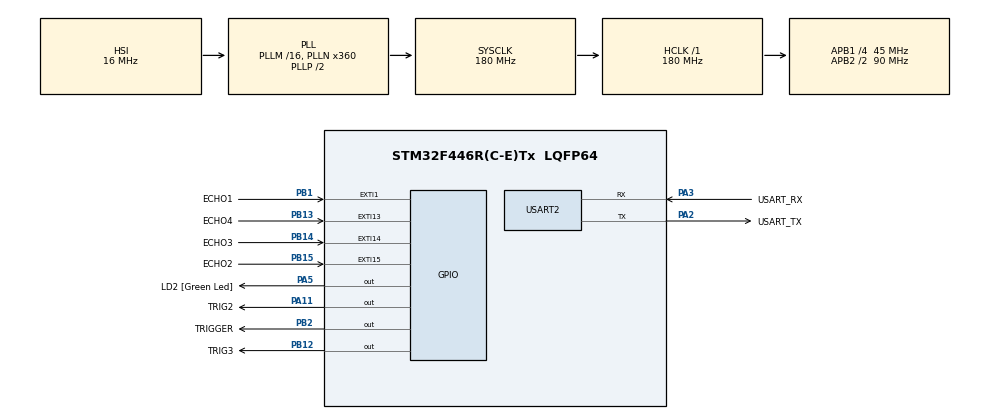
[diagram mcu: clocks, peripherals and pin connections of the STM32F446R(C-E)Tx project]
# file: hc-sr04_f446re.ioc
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Mcu.Family=STM32F4
PH0-OSC_IN.Signal=RCC_OSC_IN
RCC.CortexFreq_Value=180000000
PB14.GPIO_Label=ECHO3
PA14.GPIO_Label=TCK
PB13.GPIO_Label=ECHO4
PB13.Signal=GPXTI13
PB15.Signal=GPXTI15
RCC.SYSCLKSource=RCC_SYSCLKSOURCE_PLLCLK
ProjectManager.StackSize=0x400
NVIC.EXTI1_IRQn=true\:0\:0\:false\:false\:true\:true\:true
RCC.HCLKFreq_Value=180000000
RCC.APB2TimFreq_Value=180000000
PB1.GPIO_ModeDefaultEXTI=GPIO_MODE_IT_RISING_FALLING
RCC.AHBFreq_Value=180000000
PH0-OSC_IN.Mode=HSE-External-Oscillator
NVIC.EXTI15_10_IRQn=true\:0\:0\:false\:false\:true\:true\:true
RCC.HSE_VALUE=8000000
PB2.Signal=GPIO_Output
PB12.GPIO_Label=TRIG3
PC14-OSC32_IN.Mode=LSE-External-Oscillator
PA14.Mode=Serial_Wire
PB1.GPIO_Label=ECHO1
TIM4.Period=90
RCC.FLatency-AdvancedSettings=FLASH_LATENCY_5
PH1-OSC_OUT.Mode=HSE-External-Oscillator
Mcu.Package=LQFP64
PB1.Signal=GPXTI1
USART2.VirtualMode=VM_ASYNC
PA2.GPIO_Label=USART_TX
RCC.APB2CLKDivider=RCC_HCLK_DIV2
RCC.APB1TimFreq_Value=90000000
PA3.Signal=USART2_RX
PB3.GPIO_Label=SWO
PB14.GPIO_ModeDefaultEXTI=GPIO_MODE_IT_RISING_FALLING
PC15-OSC32_OUT.Mode=LSE-External-Oscillator
PA11.GPIO_Label=TRIG2
RCC.APB1CLKDivider=RCC_HCLK_DIV4
PC14-OSC32_IN.Signal=RCC_OSC32_IN
PB13.GPIO_ModeDefaultEXTI=GPIO_MODE_IT_RISING_FALLING
PA13.Signal=SYS_JTMS-SWDIO
PA3.Mode=Asynchronous
ProjectManager.TargetToolchain=STM32CubeIDE
RCC.USBFreq_Value=180000000
TIM4.Prescaler=1
PC15-OSC32_OUT.Signal=RCC_OSC32_OUT
PB14.Signal=GPXTI14
PA5.Signal=GPIO_Output
PB15.GPIO_ModeDefaultEXTI=GPIO_MODE_IT_RISING_FALLING
board=NUCLEO-F446RE
RCC.VCOOutputFreq_Value=360000000
RCC.APB2Freq_Value=90000000
PB15.GPIO_Label=ECHO2
PH1-OSC_OUT.Signal=RCC_OSC_OUT
PA13.Mode=Serial_Wire
Mcu.Name=STM32F446R(C-E)Tx
PA13.GPIO_Label=TMS
PA2.Signal=USART2_TX
RCC.48MHZClocksFreq_Value=84000000
PB3.Signal=SYS_JTDO-SWO
RCC.SYSCLKFreq_VALUE=180000000
PA5.GPIO_Label=LD2 [Green Led]
PA11.Signal=GPIO_Output
PA14.Signal=SYS_JTCK-SWCLK
PB2.GPIO_Label=TRIGGER
ProjectManager.HeapSize=0x200
RCC.HSI_VALUE=16000000
VP_TIM4_VS_ClockSourceINT.Mode=Internal
NVIC.PriorityGroup=NVIC_PRIORITYGROUP_0
RCC.PLLN=360
PA2.Mode=Asynchronous
NVIC.TIM4_IRQn=true\:0\:0\:false\:false\:true\:true\:true
RCC.APB1Freq_Value=45000000
PB12.Signal=GPIO_Output
PA3.GPIO_Label=USART_RX

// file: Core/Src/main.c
/* USER CODE BEGIN Header */
/**
  ******************************************************************************
  * @file           : main.c
  * @brief          : Main program body
  ******************************************************************************
  * @attention
  *
  * <h2><center>&copy; Copyright (c) 2021 STMicroelectronics.
  * All rights reserved.</center></h2>
  *
  * This software component is licensed by ST under BSD 3-Clause license,
  * the "License"; You may not use this file except in compliance with the
  * License. You may obtain a copy of the License at:
  *                        opensource.org/licenses/BSD-3-Clause
  *
  ******************************************************************************
  */
/* USER CODE END Header */
#include "main.h"
#include "tim.h"
#include "usart.h"
#include "gpio.h"

/* USER CODE BEGIN Includes */
#include <stdio.h>
#include "retarget.h"

#include "HC-SR04.h"
/* USER CODE END Includes */

void SystemClock_Config(void);

int main(void)
{

  /* MCU Configuration--------------------------------------------------------*/

  /* Reset of all peripherals, Initializes the Flash interface and the Systick. */
  HAL_Init();

  /* Configure the system clock */
  SystemClock_Config();

  /* Initialize all configured peripherals */
  MX_GPIO_Init();
  MX_USART2_UART_Init();
  MX_TIM4_Init();
  /* USER CODE BEGIN 2 */
  RetargetInit(&huart2);

  HAL_TIM_Base_Start_IT(&htim4); // 1us
  /* USER CODE END 2 */

  /* Infinite loop */
  /* USER CODE BEGIN WHILE */

  initUltrasons();

  while (1)
  {
	  debugUltrasons();
	  HAL_Delay(100);
    /* USER CODE END WHILE */

  }
}

void SystemClock_Config(void)
{
  RCC_OscInitTypeDef RCC_OscInitStruct = {0};
  RCC_ClkInitTypeDef RCC_ClkInitStruct = {0};

  /** Configure the main internal regulator output voltage
  */
  __HAL_RCC_PWR_CLK_ENABLE();
  __HAL_PWR_VOLTAGESCALING_CONFIG(PWR_REGULATOR_VOLTAGE_SCALE1);
  /** Initializes the RCC Oscillators according to the specified parameters
  * in the RCC_OscInitTypeDef structure.
  */
  RCC_OscInitStruct.OscillatorType = RCC_OSCILLATORTYPE_HSI;
  RCC_OscInitStruct.HSIState = RCC_HSI_ON;
  RCC_OscInitStruct.HSICalibrationValue = RCC_HSICALIBRATION_DEFAULT;
  RCC_OscInitStruct.PLL.PLLState = RCC_PLL_ON;
  RCC_OscInitStruct.PLL.PLLSource = RCC_PLLSOURCE_HSI;
  RCC_OscInitStruct.PLL.PLLM = 16;
  RCC_OscInitStruct.PLL.PLLN = 360;
  RCC_OscInitStruct.PLL.PLLP = RCC_PLLP_DIV2;
  RCC_OscInitStruct.PLL.PLLQ = 2;
  RCC_OscInitStruct.PLL.PLLR = 2;
  if (HAL_RCC_OscConfig(&RCC_OscInitStruct) != HAL_OK)
  {
    Error_Handler();
  }
  /** Activate the Over-Drive mode
  */
  if (HAL_PWREx_EnableOverDrive() != HAL_OK)
  {
    Error_Handler();
  }
  /** Initializes the CPU, AHB and APB buses clocks
  */
  RCC_ClkInitStruct.ClockType = RCC_CLOCKTYPE_HCLK|RCC_CLOCKTYPE_SYSCLK
                              |RCC_CLOCKTYPE_PCLK1|RCC_CLOCKTYPE_PCLK2;
  RCC_ClkInitStruct.SYSCLKSource = RCC_SYSCLKSOURCE_PLLCLK;
  RCC_ClkInitStruct.AHBCLKDivider = RCC_SYSCLK_DIV1;
  RCC_ClkInitStruct.APB1CLKDivider = RCC_HCLK_DIV4;
  RCC_ClkInitStruct.APB2CLKDivider = RCC_HCLK_DIV2;

  if (HAL_RCC_ClockConfig(&RCC_ClkInitStruct, FLASH_LATENCY_5) != HAL_OK)
  {
    Error_Handler();
  }
}

/* USER CODE BEGIN 4 */

void HAL_TIM_PeriodElapsedCallback(TIM_HandleTypeDef *htim){
	if(htim->Instance == TIM4){
		cpt_us_global++;

		if(cpt_us_global >= 0 && cpt_us_global < 10){ // && stepUS == STEP_RESET
//			HAL_GPIO_WritePin(Sensors[indexUS].Trigger_GPIO_Port,
//					Sensors[indexUS].Trigger_GPIO_Port, GPIO_PIN_SET);
			HAL_GPIO_WritePin(GPIOB, GPIO_PIN_2, GPIO_PIN_SET);
		}
		else {
//			HAL_GPIO_WritePin(Sensors[indexUS].Trigger_GPIO_Port,
//					Sensors[indexUS].Trigger_GPIO_Port, GPIO_PIN_RESET);
			HAL_GPIO_WritePin(GPIOB, GPIO_PIN_2, GPIO_PIN_RESET);

			if(stepUS == STEP_RESET) stepUS = STEP_TRIG;
		}

		if(cpt_us_global >= 10000){
			cpt_us_global = 0;
			distUS[indexUS]=999;
			indexUS++;
			if(indexUS >= NB_OF_US_SENSORS) indexUS = 0;
		}
	}

}

void HAL_GPIO_EXTI_Callback(uint16_t GPIO_Pin)
{

  if(GPIO_Pin == GPIO_PIN_1 && indexUS == US_FRONT_LEFT)
  {
	  processUltrasons(Sensors[US_FRONT_LEFT]);
  }

  if(GPIO_Pin == GPIO_PIN_15 && indexUS == US_FRONT_RIGHT)
  {
	  processUltrasons(Sensors[US_FRONT_RIGHT]);
  }

  if(GPIO_Pin == GPIO_PIN_14 && indexUS == US_BACK_LEFT)
  {
	  processUltrasons(Sensors[US_BACK_LEFT]);
  }

  if(GPIO_Pin == GPIO_PIN_13 && indexUS == US_BACK_RIGHT)
  {
	  processUltrasons(Sensors[US_BACK_RIGHT]);
  }
}

/* USER CODE END 4 */

void Error_Handler(void)
{
  __disable_irq();
  while (1)
  {
  }
}

/************************ (C) COPYRIGHT STMicroelectronics *****END OF FILE****/
